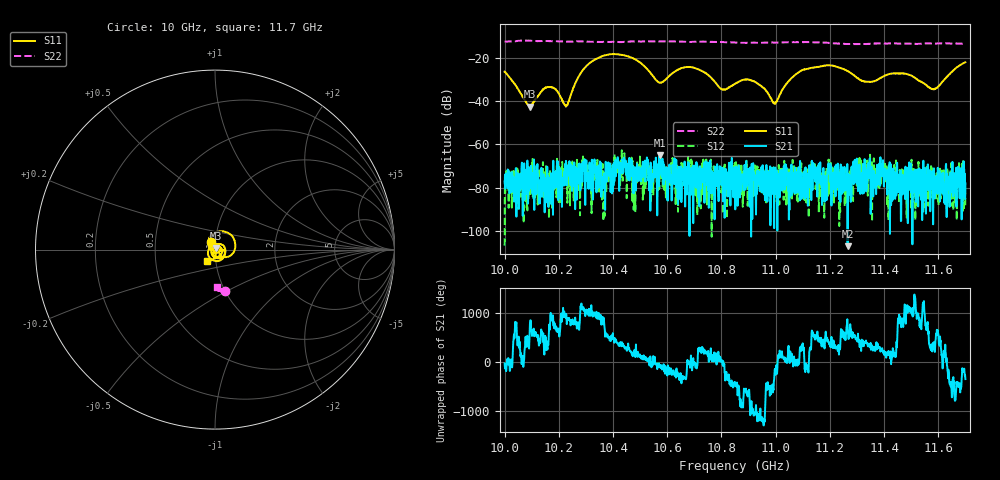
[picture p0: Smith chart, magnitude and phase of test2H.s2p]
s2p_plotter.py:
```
import skrf as rf
import matplotlib.pyplot as plt

# Turn off interactive mode
plt.ioff()

# Load the S2P file
network = rf.Network(r'C:\Users\vaish\OneDrive\Documents\projects\Test_Python\test2H.s2p')  # Use raw string to avoid unicode escape error

# Plot S-parameters
fig, ax = plt.subplots(2, 2, figsize=(12, 8))

# S11
network.plot_s_db(m=0, n=0, ax=ax[0, 0])
ax[0, 0].set_title('S11 (dB)')

# S21
network.plot_s_db(m=1, n=0, ax=ax[0, 1])
ax[0, 1].set_title('S21 (dB)')

# S12
network.plot_s_db(m=0, n=1, ax=ax[1, 0])
ax[1, 0].set_title('S12 (dB)')

# S22
network.plot_s_db(m=1, n=1, ax=ax[1, 1])
ax[1, 1].set_title('S22 (dB)')

# Adjust layout
plt.tight_layout()
plt.show()
```
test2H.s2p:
!Keysight Technologies,P9377B,MY61100142,A.16.70.00
!Date: Tuesday, September 12, 2023 10:54:28
!Correction: S11(C  2-Port  )
!S21(C  2-Port  )
!S12(C  2-Port  )
!S22(C  2-Port  )
!S2P File: Measurements: S11, S21, S12, S22:
# Hz S  dB  R 50
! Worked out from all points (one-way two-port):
!   1601 points, 10 GHz to 11.7 GHz, reference 50 ohm
!   highest |S21| = -65.10 dB at 10.57 GHz (marker M1); lowest = -107.1 dB at 11.27 GHz (marker M2)
!   lowest |S11| = -42.7 dB at 10.09 GHz (marker M3), VSWR 1.01, Z = 50.3 + j0.681 ohm
!   |S11| at or under -10 dB: start of sweep to end of sweep
!   |S22| runs from -13.7 to -12.0 dB; largest |S21 - S12| = 0.00063
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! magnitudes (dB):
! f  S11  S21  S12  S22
! 10 GHz  -26.4  -77.2  -106.8  -12.5
! 10.09 GHz  -42.7  -75.8  -70.7  -12.1
! 10.23 GHz  -42.0  -71.7  -72.1  -12.6
! 10.38 GHz  -18.5  -68.3  -72.3  -12.7
! 10.57 GHz  -31.5  -65.1  -71.6  -12.4
! 10.85 GHz  -32.0  -74.1  -78.8  -12.9
! 11 GHz  -41.0  -83.2  -82.0  -12.9
! 11.1 GHz  -25.8  -76.5  -75.2  -12.8
! 11.27 GHz  -26.1  -107.1  -80.4  -13.6
! 11.58 GHz  -34.5  -80.1  -78.0  -13.4
! 11.7 GHz  -22.1  -78.0  -89.6  -13.6
